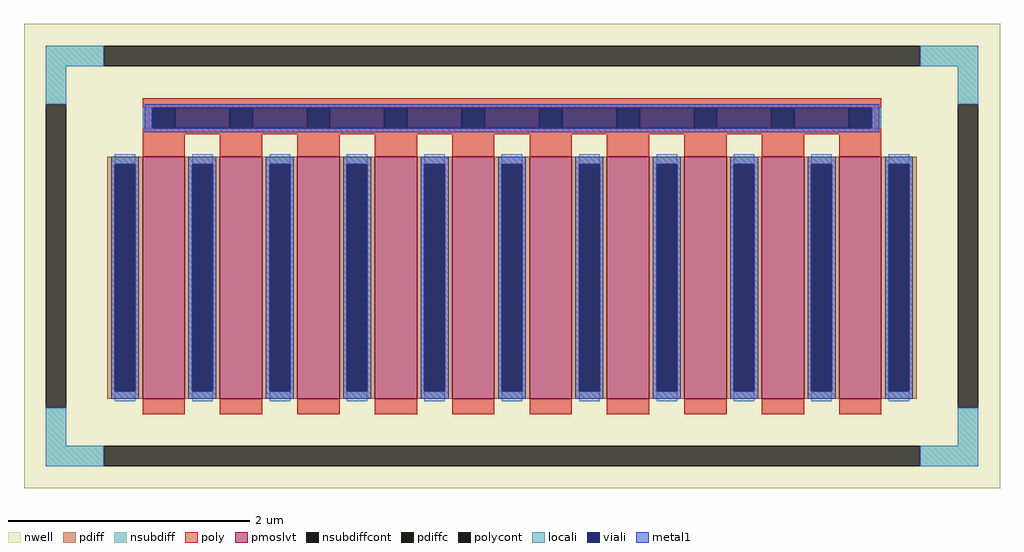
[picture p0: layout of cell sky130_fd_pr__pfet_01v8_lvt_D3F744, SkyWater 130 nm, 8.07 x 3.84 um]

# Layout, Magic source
magic
tech sky130A
magscale 1 2
<< nwell >>
rect -807 -384 807 384
<< pmoslvt >>
rect -611 -236 -541 164
rect -483 -236 -413 164
rect -355 -236 -285 164
rect -227 -236 -157 164
rect -99 -236 -29 164
rect 29 -236 99 164
rect 157 -236 227 164
rect 285 -236 355 164
rect 413 -236 483 164
rect 541 -236 611 164
<< pdiff >>
rect -669 152 -611 164
rect -669 -224 -657 152
rect -623 -224 -611 152
rect -669 -236 -611 -224
rect -541 152 -483 164
rect -541 -224 -529 152
rect -495 -224 -483 152
rect -541 -236 -483 -224
rect -413 152 -355 164
rect -413 -224 -401 152
rect -367 -224 -355 152
rect -413 -236 -355 -224
rect -285 152 -227 164
rect -285 -224 -273 152
rect -239 -224 -227 152
rect -285 -236 -227 -224
rect -157 152 -99 164
rect -157 -224 -145 152
rect -111 -224 -99 152
rect -157 -236 -99 -224
rect -29 152 29 164
rect -29 -224 -17 152
rect 17 -224 29 152
rect -29 -236 29 -224
rect 99 152 157 164
rect 99 -224 111 152
rect 145 -224 157 152
rect 99 -236 157 -224
rect 227 152 285 164
rect 227 -224 239 152
rect 273 -224 285 152
rect 227 -236 285 -224
rect 355 152 413 164
rect 355 -224 367 152
rect 401 -224 413 152
rect 355 -236 413 -224
rect 483 152 541 164
rect 483 -224 495 152
rect 529 -224 541 152
rect 483 -236 541 -224
rect 611 152 669 164
rect 611 -224 623 152
rect 657 -224 669 152
rect 611 -236 669 -224
<< pdiffc >>
rect -657 -224 -623 152
rect -529 -224 -495 152
rect -401 -224 -367 152
rect -273 -224 -239 152
rect -145 -224 -111 152
rect -17 -224 17 152
rect 111 -224 145 152
rect 239 -224 273 152
rect 367 -224 401 152
rect 495 -224 529 152
rect 623 -224 657 152
<< nsubdiff >>
rect -771 314 -675 348
rect 675 314 771 348
rect -771 251 -737 314
rect 737 251 771 314
rect -771 -314 -737 -251
rect 737 -314 771 -251
rect -771 -348 -675 -314
rect 675 -348 771 -314
<< nsubdiffcont >>
rect -675 314 675 348
rect -771 -251 -737 251
rect 737 -251 771 251
rect -675 -348 675 -314
<< poly >>
rect -611 245 611 261
rect -611 211 -595 245
rect -557 211 -467 245
rect -429 211 -339 245
rect -301 211 -211 245
rect -173 211 -83 245
rect -45 211 45 245
rect 83 211 173 245
rect 211 211 301 245
rect 339 211 429 245
rect 467 211 557 245
rect 595 211 611 245
rect -611 201 611 211
rect -611 164 -541 201
rect -483 164 -413 201
rect -355 164 -285 201
rect -227 164 -157 201
rect -99 164 -29 201
rect 29 164 99 201
rect 157 164 227 201
rect 285 164 355 201
rect 413 164 483 201
rect 541 164 611 201
rect -611 -262 -541 -236
rect -483 -262 -413 -236
rect -355 -262 -285 -236
rect -227 -262 -157 -236
rect -99 -262 -29 -236
rect 29 -262 99 -236
rect 157 -262 227 -236
rect 285 -262 355 -236
rect 413 -262 483 -236
rect 541 -262 611 -236
<< polycont >>
rect -595 211 -557 245
rect -467 211 -429 245
rect -339 211 -301 245
rect -211 211 -173 245
rect -83 211 -45 245
rect 45 211 83 245
rect 173 211 211 245
rect 301 211 339 245
rect 429 211 467 245
rect 557 211 595 245
<< locali >>
rect -771 314 -675 348
rect 675 314 771 348
rect -771 251 -737 314
rect 737 251 771 314
rect -611 211 -595 245
rect 595 211 611 245
rect -657 152 -623 168
rect -657 -240 -623 -224
rect -529 152 -495 168
rect -529 -240 -495 -224
rect -401 152 -367 168
rect -401 -240 -367 -224
rect -273 152 -239 168
rect -273 -240 -239 -224
rect -145 152 -111 168
rect -145 -240 -111 -224
rect -17 152 17 168
rect -17 -240 17 -224
rect 111 152 145 168
rect 111 -240 145 -224
rect 239 152 273 168
rect 239 -240 273 -224
rect 367 152 401 168
rect 367 -240 401 -224
rect 495 152 529 168
rect 495 -240 529 -224
rect 623 152 657 168
rect 623 -240 657 -224
rect -771 -314 -737 -251
rect 737 -314 771 -251
rect -771 -348 -675 -314
rect 675 -348 771 -314
<< viali >>
rect -595 211 -557 245
rect -557 211 -467 245
rect -467 211 -429 245
rect -429 211 -339 245
rect -339 211 -301 245
rect -301 211 -211 245
rect -211 211 -173 245
rect -173 211 -83 245
rect -83 211 -45 245
rect -45 211 45 245
rect 45 211 83 245
rect 83 211 173 245
rect 173 211 211 245
rect 211 211 301 245
rect 301 211 339 245
rect 339 211 429 245
rect 429 211 467 245
rect 467 211 557 245
rect 557 211 595 245
rect -657 -224 -623 152
rect -529 -224 -495 152
rect -401 -224 -367 152
rect -273 -224 -239 152
rect -145 -224 -111 152
rect -17 -224 17 152
rect 111 -224 145 152
rect 239 -224 273 152
rect 367 -224 401 152
rect 495 -224 529 152
rect 623 -224 657 152
<< metal1 >>
rect -607 245 607 251
rect -607 211 -595 245
rect 595 211 607 245
rect -607 205 607 211
rect -663 152 -617 164
rect -663 -224 -657 152
rect -623 -224 -617 152
rect -663 -236 -617 -224
rect -535 152 -489 164
rect -535 -224 -529 152
rect -495 -224 -489 152
rect -535 -236 -489 -224
rect -407 152 -361 164
rect -407 -224 -401 152
rect -367 -224 -361 152
rect -407 -236 -361 -224
rect -279 152 -233 164
rect -279 -224 -273 152
rect -239 -224 -233 152
rect -279 -236 -233 -224
rect -151 152 -105 164
rect -151 -224 -145 152
rect -111 -224 -105 152
rect -151 -236 -105 -224
rect -23 152 23 164
rect -23 -224 -17 152
rect 17 -224 23 152
rect -23 -236 23 -224
rect 105 152 151 164
rect 105 -224 111 152
rect 145 -224 151 152
rect 105 -236 151 -224
rect 233 152 279 164
rect 233 -224 239 152
rect 273 -224 279 152
rect 233 -236 279 -224
rect 361 152 407 164
rect 361 -224 367 152
rect 401 -224 407 152
rect 361 -236 407 -224
rect 489 152 535 164
rect 489 -224 495 152
rect 529 -224 535 152
rect 489 -236 535 -224
rect 617 152 663 164
rect 617 -224 623 152
rect 657 -224 663 152
rect 617 -236 663 -224
<< properties >>
string gencell sky130_fd_pr__pfet_01v8_lvt
string FIXED_BBOX -754 -331 754 331
string parameters w 2 l 0.35 m 1 nf 10 diffcov 100 polycov 100 guard 1 glc 1 grc 1 gtc 1 gbc 1 tbcov 100 rlcov 100 topc 1 botc 0 poverlap 0 doverlap 1 lmin 0.35 wmin 0.42 compatible {sky130_fd_pr__pfet_01v8  sky130_fd_pr__pfet_01v8_lvt sky130_fd_pr__pfet_01v8_hvt  sky130_fd_pr__pfet_g5v0d10v5} full_metal 1 viasrc 100 viadrn 100 viagate 100 viagb 0 viagr 0 viagl 0 viagt 0
string library sky130
<< end >>
